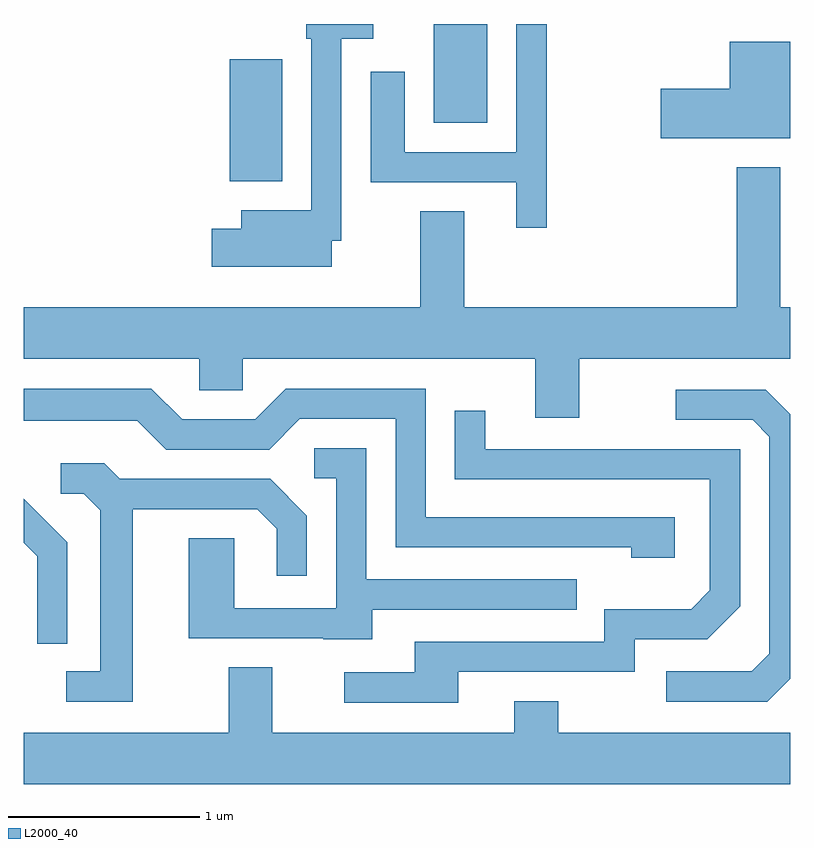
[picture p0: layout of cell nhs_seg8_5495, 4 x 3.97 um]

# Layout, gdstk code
import gdstk
lib = gdstk.Library(unit=1e-6, precision=1e-09)
def R(c, l, rs):  # rectangles x0, y0, x1, y1
    for r in rs: c.add(gdstk.rectangle(r[:2], r[2:], *l))
def P(c, l, *ps):  # polygons
    for p in ps: c.add(gdstk.Polygon(p, *l))
L2000_40 = (2000, 40)

nhs_seg8_5495 = lib.new_cell('nhs_seg8_5495')
R(nhs_seg8_5495, L2000_40, [(350.686,1879.521,350.959,1880.159), (351.751,1879.826,352.029,1880.342)])
P(nhs_seg8_5495, L2000_40, [(352.339,1880.342),(352.181,1880.342),(352.181,1879.674),(351.599,1879.674),(351.599,1880.094),(351.421,1880.094),(351.421,1879.516),(352.181,1879.516),(352.181,1879.278),(352.339,1879.278)],
  [(351.219,1879.211),(351.269,1879.211),(351.269,1880.266),(351.434,1880.266),(351.434,1880.342),(351.086,1880.342),(351.086,1880.266),(351.111,1880.266),(351.111,1879.369),(350.746,1879.369),(350.746,1879.274),(350.591,1879.274),(350.591,1879.076),(351.219,1879.076)],
  [(353.611,1880.249),(353.296,1880.249),(353.296,1880.004),(352.936,1880.004),(352.936,1879.746),(353.611,1879.746)],
  [(352.509,1878.596),(353.611,1878.596),(353.611,1878.864),(353.559,1878.864),(353.559,1879.594),(353.331,1879.594),(353.331,1878.864),(351.909,1878.864),(351.909,1879.364),(351.681,1879.364),(351.681,1878.864),(349.611,1878.864),(349.611,1878.596),(350.526,1878.596),(350.526,1878.431),(350.754,1878.431),(350.754,1878.596),(352.281,1878.596),(352.281,1878.286),(352.509,1878.286)],
  [(353.009,1877.769),(351.709,1877.769),(351.709,1878.439),(350.979,1878.439),(350.819,1878.279),(350.437,1878.279),(350.277,1878.439),(349.611,1878.439),(349.611,1878.271),(350.204,1878.271),(350.354,1878.121),(350.892,1878.121),(351.052,1878.281),(351.551,1878.281),(351.551,1877.611),(352.781,1877.611),(352.781,1877.556),(353.009,1877.556)],
  [(353.611,1876.926),(353.611,1878.305),(353.482,1878.434),(353.013,1878.434),(353.013,1878.276),(353.414,1878.276),(353.501,1878.189),(353.501,1877.057),(353.409,1876.964),(352.963,1876.964),(352.963,1876.806),(353.492,1876.806)],
  [(351.879,1876.961),(352.799,1876.961),(352.799,1877.131),(353.177,1877.131),(353.349,1877.304),(353.349,1878.124),(352.019,1878.124),(352.019,1878.323),(351.861,1878.323),(351.861,1877.966),(353.191,1877.966),(353.191,1877.387),(353.094,1877.289),(352.641,1877.289),(352.641,1877.119),(351.651,1877.119),(351.651,1876.959),(351.283,1876.959),(351.283,1876.801),(351.879,1876.801)],
  [(351.429,1877.286),(352.498,1877.286),(352.498,1877.444),(351.399,1877.444),(351.399,1878.129),(351.128,1878.129),(351.128,1877.971),(351.241,1877.971),(351.241,1877.294),(350.709,1877.294),(350.709,1877.659),(350.471,1877.659),(350.471,1877.136),(351.175,1877.136),(351.175,1877.131),(351.429,1877.131)],
  [(350.179,1877.811),(350.829,1877.811),(350.931,1877.709),(350.931,1877.463),(351.089,1877.463),(351.089,1877.777),(350.897,1877.969),(350.112,1877.969),(350.032,1878.049),(349.803,1878.049),(349.803,1877.891),(349.924,1877.891),(350.011,1877.804),(350.011,1876.964),(349.833,1876.964),(349.833,1876.806),(350.179,1876.806)],
  [(349.839,1877.637),(349.611,1877.865),(349.611,1877.634),(349.681,1877.564),(349.681,1877.108),(349.839,1877.108)],
  [(353.611,1876.644),(352.399,1876.644),(352.399,1876.809),(352.171,1876.809),(352.171,1876.644),(350.909,1876.644),(350.909,1876.984),(350.681,1876.984),(350.681,1876.644),(349.611,1876.644),(349.611,1876.376),(353.611,1876.376)])

lib.write_gds('nhs_seg8_5495.gds')
